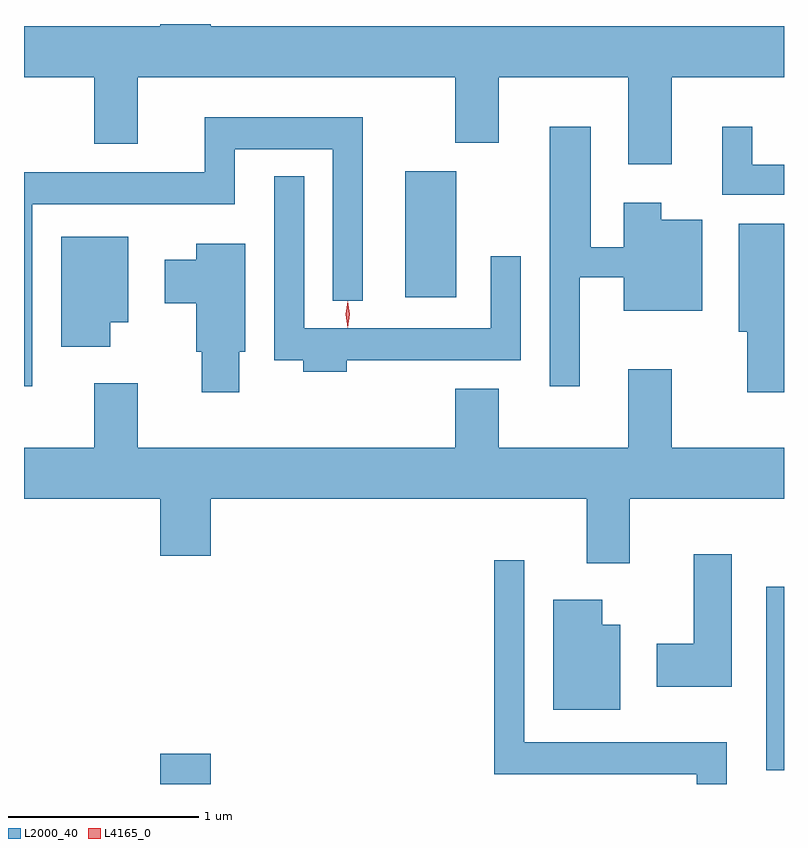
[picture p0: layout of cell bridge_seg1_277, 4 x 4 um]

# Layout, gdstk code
import gdstk
lib = gdstk.Library(unit=1e-6, precision=1e-09)
def R(c, l, rs):  # rectangles x0, y0, x1, y1
    for r in rs: c.add(gdstk.rectangle(r[:2], r[2:], *l))
def P(c, l, *ps):  # polygons
    for p in ps: c.add(gdstk.Polygon(p, *l))
L2000_40 = (2000, 40)
L4165_0 = (4165, 0)

bridge_seg1_277 = lib.new_cell('bridge_seg1_277')
R(bridge_seg1_277, L2000_40, [(874.416,889.195,874.684,889.354), (877.606,889.268,877.7,890.234), (875.706,891.756,875.974,892.419)])
P(bridge_seg1_277, L2000_40, [(874.684,893.195),(874.416,893.195),(874.416,893.184),(873.7,893.184),(873.7,892.916),(874.071,892.916),(874.071,892.566),(874.299,892.566),(874.299,892.916),(875.971,892.916),(875.971,892.571),(876.199,892.571),(876.199,892.916),(876.881,892.916),(876.881,892.456),(877.109,892.456),(877.109,892.916),(877.7,892.916),(877.7,893.184),(874.684,893.184)],
  [(873.744,892.246),(874.809,892.246),(874.809,892.536),(875.326,892.536),(875.326,891.738),(875.484,891.738),(875.484,892.704),(874.651,892.704),(874.651,892.414),(873.7,892.414),(873.7,891.288),(873.744,891.288)],
  [(876.624,891.861),(876.856,891.861),(876.856,891.686),(877.269,891.686),(877.269,892.164),(877.054,892.164),(877.054,892.254),(876.856,892.254),(876.856,892.019),(876.684,892.019),(876.684,892.654),(876.466,892.654),(876.466,891.288),(876.624,891.288)],
  [(877.7,892.454),(877.534,892.454),(877.534,892.653),(877.376,892.653),(877.376,892.296),(877.7,892.296)],
  [(875.399,891.426),(876.314,891.426),(876.314,891.973),(876.156,891.973),(876.156,891.594),(875.174,891.594),(875.174,892.393),(875.016,892.393),(875.016,891.426),(875.171,891.426),(875.171,891.366),(875.399,891.366)],
  [(877.7,892.144),(877.461,892.144),(877.461,891.576),(877.506,891.576),(877.506,891.256),(877.7,891.256)],
  [(874.154,891.626),(874.249,891.626),(874.249,892.074),(873.896,892.074),(873.896,891.496),(874.154,891.496)],
  [(874.834,891.471),(874.864,891.471),(874.864,892.039),(874.606,892.039),(874.606,891.954),(874.441,891.954),(874.441,891.726),(874.606,891.726),(874.606,891.471),(874.636,891.471),(874.636,891.256),(874.834,891.256)],
  [(876.889,890.696),(877.7,890.696),(877.7,890.964),(877.109,890.964),(877.109,891.379),(876.881,891.379),(876.881,890.964),(876.199,890.964),(876.199,891.274),(875.971,891.274),(875.971,890.964),(874.299,890.964),(874.299,891.304),(874.071,891.304),(874.071,890.964),(873.7,890.964),(873.7,890.696),(874.416,890.696),(874.416,890.396),(874.684,890.396),(874.684,890.696),(876.661,890.696),(876.661,890.356),(876.889,890.356)],
  [(877.424,890.404),(877.226,890.404),(877.226,889.934),(877.031,889.934),(877.031,889.706),(877.424,889.706)],
  [(877.399,889.414),(876.334,889.414),(876.334,890.373),(876.176,890.373),(876.176,889.246),(877.241,889.246),(877.241,889.195),(877.399,889.195)],
  [(876.839,890.034),(876.744,890.034),(876.744,890.164),(876.486,890.164),(876.486,889.586),(876.839,889.586)])
P(bridge_seg1_277, L4165_0, [(875.403,891.597),(875.394,891.667),(875.403,891.736),(875.404,891.736),(875.404,891.736),(875.414,891.667),(875.404,891.597),(875.404,891.597)])

lib.write_gds('bridge_seg1_277.gds')
